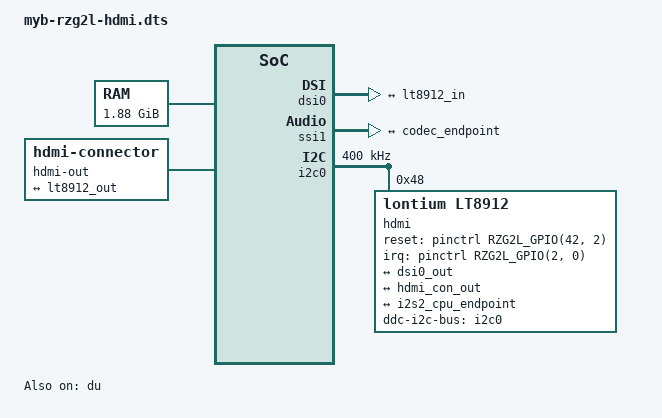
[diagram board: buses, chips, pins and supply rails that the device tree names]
// SPDX-License-Identifier: GPL-2.0
/*
 * Device Tree Source for the RZG2L Dual A55 Evaluation board
 *
 * Copyright (C) 2022 MYiR Electronics Corp.
 */

/dts-v1/;
#include "myb-rzg2l-smarc-base.dtsi"

/ {

	memory@48000000 {
		device_type = "memory";
		/* first 128MB is reserved for secure area. */
		reg = <0x0 0x48000000 0x0 0x78000000>;
	};

	reserved-memory {
		#address-cells = <2>;
		#size-cells = <2>;
		ranges;

		global_cma: linux,cma@58000000 {
			compatible = "shared-dma-pool";
			linux,cma-default;
			reusable;
			reg = <0x0 0x58000000 0x0 0x10000000>;
		};
		mmp_reserved: linux,multimedia {
			compatible = "shared-dma-pool";
			reusable;
			reg = <0x00000000 0x68000000 0x0 0x8000000>;
		};
	};

	mmngr {
		compatible = "renesas,mmngr";
		memory-region = <&mmp_reserved>;
	};

	mmngrbuf {
		compatible = "renesas,mmngrbuf";
	};

	vspm_if {
			compatible = "renesas,vspm_if";
	};

	sound_card {
			compatible = "audio-graph-card";
			//compatible = "simple-audio-card";
			dais = <&i2s2_port0>;
	};


    hdmi-out {
            compatible = "hdmi-connector";
            type = "d";

            port {
                    hdmi_con_out: endpoint {
                            remote-endpoint = <&lt8912_out>;
                    };
            };
    };
};

&pinctrl {

        ssi1_pins: ssi1 {
                pinmux = <RZG2L_PORT_PINMUX(46, 0, 1)>, /* BCK */
                         <RZG2L_PORT_PINMUX(46, 1, 1)>, /* RCK */
                         <RZG2L_PORT_PINMUX(46, 2, 1)>, /* TXD */
                         <RZG2L_PORT_PINMUX(46, 3, 1)>; /* RXD */
        };

};

&ehci0 {
	memory-region = <&global_cma>;
};

&ohci0 {
	memory-region = <&global_cma>;
};

&ehci1 {
	memory-region = <&global_cma>;
};

&ohci1 {
	memory-region = <&global_cma>;
};

&du {
    status = "okay";
};

/* MIPI DSI */
&dsi0 {
	status = "okay";
	ports {
		port@1 {
			dsi0_out: endpoint {
				remote-endpoint = <&lt8912_in>;
				data-lanes = <1 2 3 4>;
			};
		};
	};
};


&ssi1 {
        pinctrl-0 = <&ssi1_pins>;
        pinctrl-names = "default";

        status = "okay";

        ports {
                i2s2_port0: port@0 {
                        i2s2_cpu_endpoint: endpoint {
                                remote-endpoint = <&codec_endpoint>;
                                dai-format = "i2s";
                        };
                };
        };
};

&i2c0 {
    clock-frequency = <400000>;
    pinctrl-names = "default";
    status = "okay";

	/* MIPI-DSI to HDMI and LVDS adapter */
	hdmi@48 {
		compatible = "lontium,lt8912";
		ddc-i2c-bus = <&i2c0>;
		dsi-lanes = <4>;
		reg = <0x48>;
		reset-gpios = <&pinctrl RZG2L_GPIO(42, 2) GPIO_ACTIVE_HIGH>;
		// hpd-gpios = <&pinctrl RZG2L_GPIO(2, 0) GPIO_ACTIVE_HIGH>;
        interrupt-parent = <&pinctrl>;
        interrupts = <RZG2L_GPIO(2, 0) IRQ_TYPE_EDGE_RISING>;

	/*  LVDS output or HDMI output
		0: lvds
		1: hdmi
		2: hdmi and lvds
    */
		lvds_mode = <1>;
		bit_color = <0> ;    // 0:24bit   1:18bit
		hdmi_mode = <0>;     // 0: 1080P  1:720P
		audio_mode = <2>;     // 0:NONE   1: SPDIF 2: I2S
	
		display-timings {
			native-mode = <&timing0>;
			/* LVDS atk 10.1*/
			timing0:timing0{
				clock-frequency = <71000000>;
				hactive = <1280>;
				hsync-len = <32>;
				hback-porch = <80>;
				hfront-porch = <48>;
				vactive = <800>;
				vsync-len = <6>;
				vback-porch = <14>;
				vfront-porch = <3>;
				vsync-active = <0>;
				hsync-active =<0>;
				de-active =<0>;
				pixelclk-active =<0>;
			};

		};

		ports{
			#address-cells = <1>;
			#size-cells = <0>;
			port@0 {
				reg = <0>;
				lt8912_in: endpoint@0 {
					remote-endpoint = <&dsi0_out>;
				};
			};

			port@1 {
				reg = <1>;
				lt8912_out: endpoint@1 {
					remote-endpoint = <&hdmi_con_out>;
				};
			};

			port@2 {
				reg = <2>;
				codec_endpoint: endpoint {
						remote-endpoint = <&i2s2_cpu_endpoint>;
				};
             };

		};

	};

};
